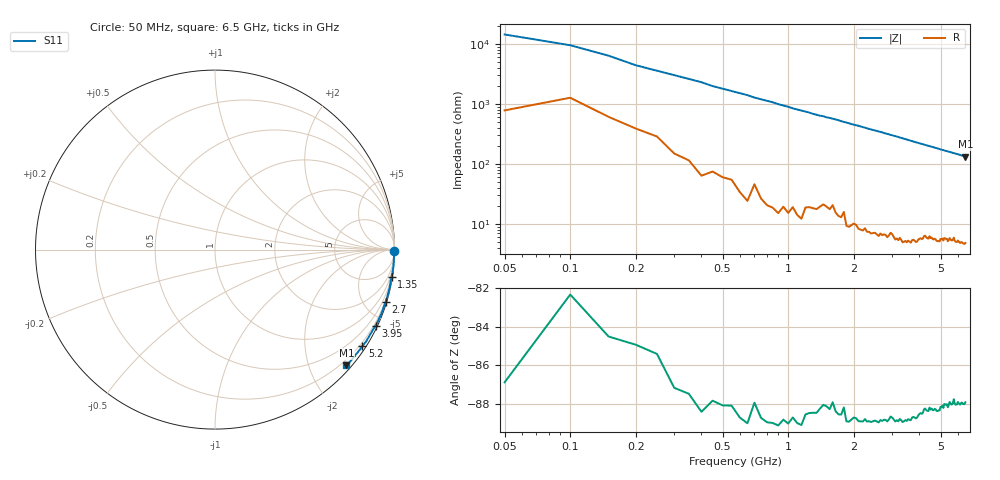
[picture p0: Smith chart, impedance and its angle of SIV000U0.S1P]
! (c) 1999  Infineon Technologies AG, Munich
! Infineon Technologies  Discrete & RF Semiconductors
! BAT24-02LS
! Si Schottky Diode in TSSLP-2
! VR = 0 V
! S-Parameters:  July  2007
# GHz  S  MA  R  50
!  f  S11
! GHz  MAG  ANG
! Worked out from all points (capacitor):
!   130 points, 50 MHz to 6.5 GHz, reference 50 ohm
!   read as one part to ground: C = 170 fF near 50 MHz
!   lowest |Z| = 132 ohm at 6.5 GHz (marker M1)
!   S11 on the Smith chart (normalised r, x): 50 MHz: open; 1.35 GHz: 0, -13; 2.7 GHz: 0.13, -6.69; 3.95 GHz: 0.11, -4.45; 5.2 GHz: 0.12, -3.35; 6.5 GHz: 0.10, -2.64
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0.05  0.9996 -0.4
0.15  0.9985 -0.9
0.9  0.9984 -5.8
1.35  0.996 -8.7
1.6  0.9936 -10.1
1.7  0.9953 -10.7
1.95  0.9956 -12.4
2.1  0.9956 -13.2
2.3  0.9952 -14.6
2.5  0.9946 -15.8
2.7  0.9943 -17.0
3.3  0.9929 -20.9
3.5  0.9927 -22.2
3.95  0.9896 -25.3
4.1  0.9886 -26.2
4.2  0.9865 -26.9
4.25  0.9861 -27.1
4.9  0.9851 -31.3
5.2  0.9811 -33.2
5.4  0.9821 -34.4
5.5  0.9792 -35.1
5.6  0.9802 -35.6
5.7  0.9791 -36.3
5.75  0.9769 -36.7
5.85  0.9796 -37.2
6  0.9776 -38.2
6.15  0.9786 -39.1
6.5  0.9762 -41.4
